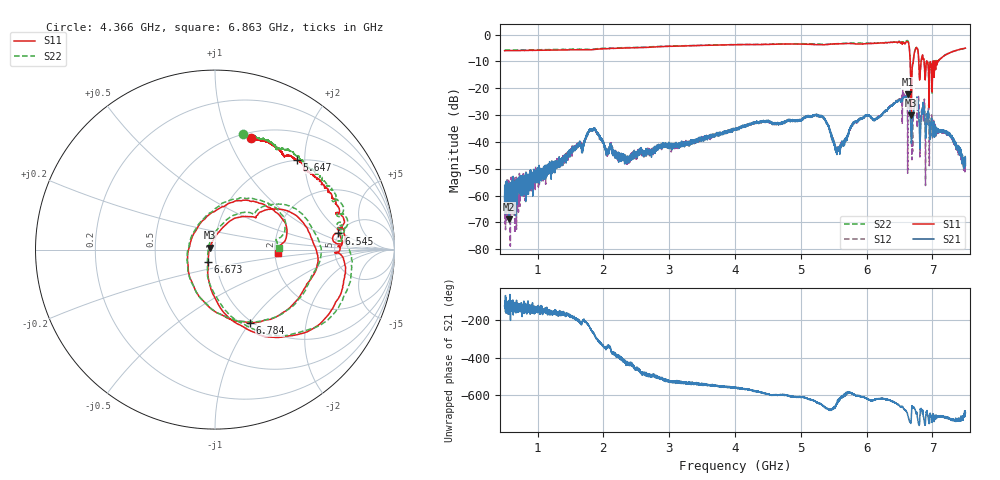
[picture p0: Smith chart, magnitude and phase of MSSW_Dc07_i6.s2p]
!Keysight Technologies,M9374A,MY55442783,A.12.55.05
!Date: Thursday, May 20, 2021 16:17:51
!Correction: S11(Full 2 Port(1,2))
!S21(Full 2 Port(1,2))
!S12(Full 2 Port(1,2))
!S22(Full 2 Port(1,2))
!S2P File: Measurements: S11, S21, S12, S22:
# Hz S  RI  R 50
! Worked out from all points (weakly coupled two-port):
!   7001 points, 500 MHz to 7.5 GHz, reference 50 ohm
!   highest |S21| = -22.21 dB at 6.623 GHz (marker M1); lowest = -68.9 dB at 566 MHz (marker M2)
!   lowest |S11| = -30.1 dB at 6.677 GHz (marker M3), VSWR 1.06, Z = 47.1 + j1.02 ohm
!   |S11| at or under -10 dB: 6.661 GHz to 6.708 GHz (46.65 MHz wide, 0.698 % of centre); 6.792 GHz to 6.828 GHz (36.4 MHz wide, 0.535 % of centre); 6.916 GHz to 7.008 GHz (91.26 MHz wide, 1.31 % of centre) (the widest 3 of 9)
!   |S22| runs from -28.1 to -2.2 dB; largest |S21 - S12| = 0.076
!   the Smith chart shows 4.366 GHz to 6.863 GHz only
!   S11 on the Smith chart (normalised r, x): 4.366 GHz: 0.56, +1.21; 5.647 GHz: 1.00, +1.83; 6.545 GHz: 4.91, +1.70; 6.673 GHz: 0.92, -0.13; 6.784 GHz: 0.98, -1.00; 6.863 GHz: 2.07, -0.09
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5e8  -0.4835 0.1294  -0.000469 -0.000716  -0.000608 -0.000209  -0.499 0.1278
5.66e8  -0.4807 0.1449  -0.000221 -0.00028  -0.00112 -0.000439  -0.4956 0.1436
1.667e9  -0.3558 0.3833  -0.00572 0.00567  -0.00589 0.00528  -0.3748 0.3794
1.841e9  -0.3319 0.4051  -0.00179 0.0165  -0.00196 0.017  -0.3519 0.4002
2.365e9  -0.2464 0.5068  0.00223 -0.00461  0.00172 -0.00455  -0.272 0.5029
2.834e9  -0.1561 0.5708  -0.00603 -0.00443  -0.00706 -0.00519  -0.1881 0.5706
4e9  0.1199 0.6363  -0.0161 0.00579  -0.0162 0.00646  0.08 0.6444
4.366e9  0.2012 0.6205  -0.0173 0.016  -0.0166 0.0164  0.1547 0.6422
5.167e9  0.3754 0.5367  -0.00231 0.0302  -0.00236 0.0301  0.3222 0.5872
5.354e9  0.3877 0.5183  0.0143 0.0234  0.0145 0.0229  0.3412 0.5635
5.548e9  0.4339 0.514  0.00199 0.00544  0.000765 0.00759  0.3717 0.564
5.647e9  0.4566 0.499  -0.00289 0.00827  -0.00379 0.00822  0.399 0.557
6.334e9  0.6325 0.3308  -0.0029 0.0426  -0.00259 0.0427  0.5978 0.3942
6.545e9  0.6875 0.0901  0.0316 0.0521  0.00514 0.065  0.7072 0.1366
6.623e9  0.6795 -0.2833  0.075 0.0198  0.00238 -0.00107  0.7265 -0.2433
6.673e9  -0.0385 -0.0681  0.015 -0.00593  0.0169 -0.0276  -0.0415 -0.0605
6.677e9  -0.0293 0.0108  0.0109 -0.00269  0.0102 -0.0128  -0.0351 0.022
6.716e9  0.3132 0.2264  0.0213 0.0295  0.025 0.0528  0.3051 0.2504
6.784e9  0.1932 -0.4075  0.0433 -0.0216  0.0729 -0.00155  0.1988 -0.4021
6.863e9  0.3492 -0.0198  0.0451 0.00332  0.0229 0.00591  0.3541 0.00895
6.97e9  0.1358 0.275  0.0215 0.00503  0.0166 0.00223  0.1094 0.2584
7.5e9  0.267 0.4897  0.00447 0.00213  0.00355 0.00191  0.2178 0.5097
